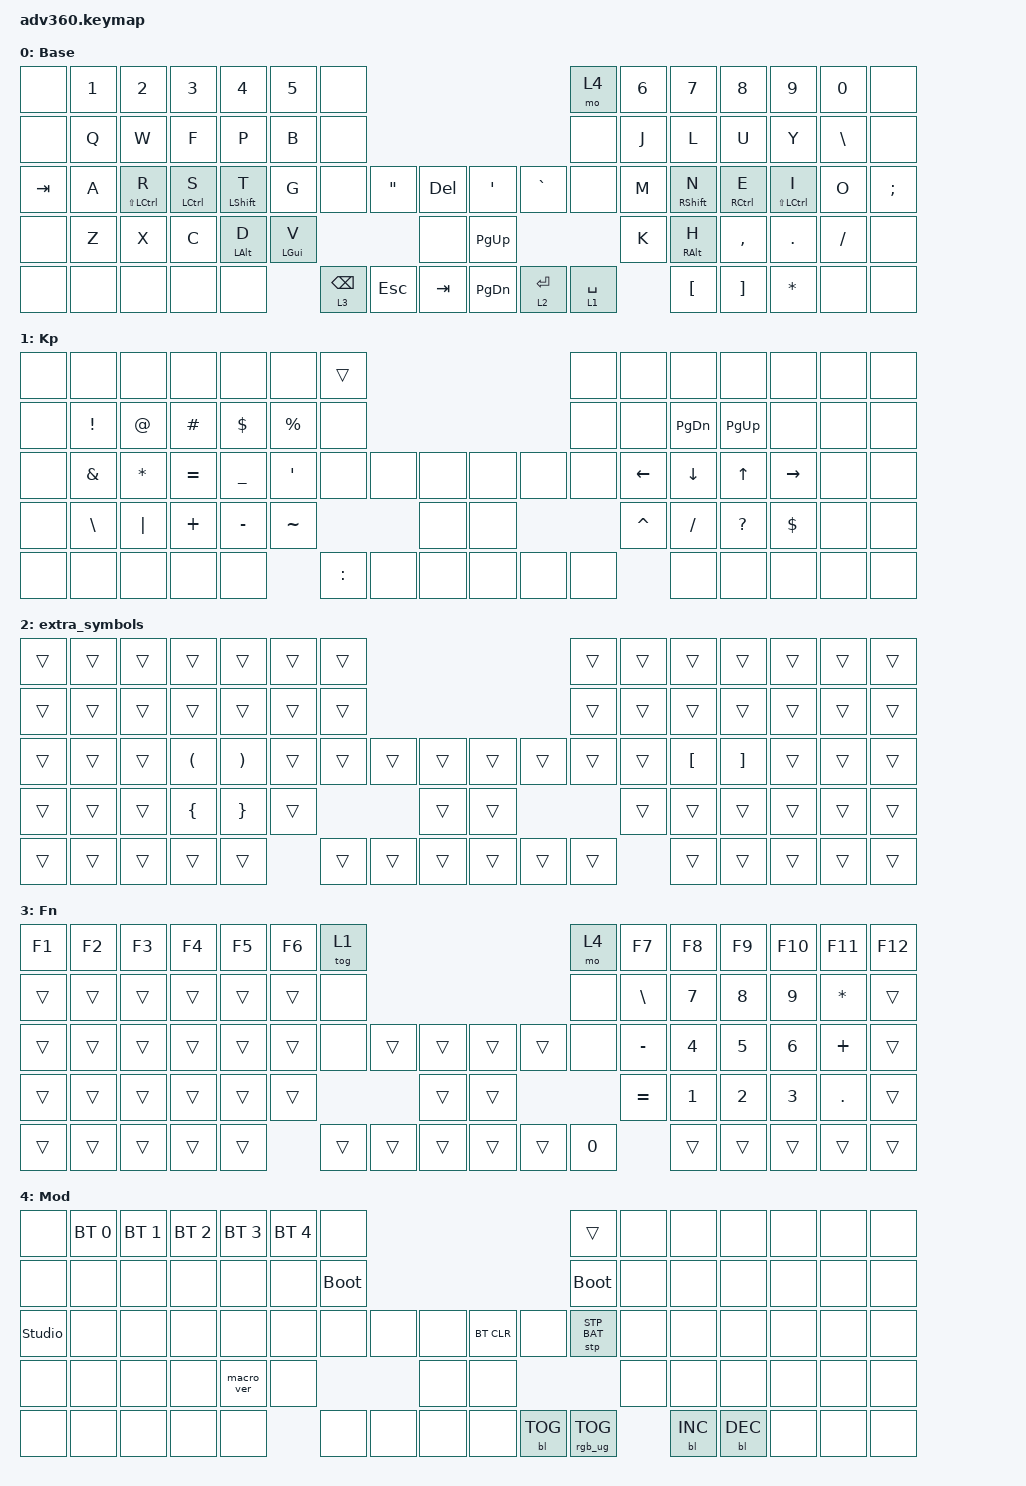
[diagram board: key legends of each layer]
#include <dt-bindings/zmk/stp.h>
#include <behaviors.dtsi>
#include <dt-bindings/zmk/backlight.h>
#include <dt-bindings/zmk/bt.h>
#include <dt-bindings/zmk/keys.h>
#include <dt-bindings/zmk/rgb.h>

/ {
    behaviors {
        #include "macros.dtsi"
      #include "version.dtsi"

        hm: homerow_mods {
            compatible = "zmk,behavior-hold-tap";
            label = "HOMEROW_MODS";
            #binding-cells = <2>;
            tapping-term-ms = <200>;
            quick_tap_ms = <175>;
            flavor = "tap-preferred";
            bindings = <&kp>, <&kp>;
        };

        hml: hml {
            compatible = "zmk,behavior-hold-tap";
            label = "HML";
            bindings = <&kp>, <&kp>;

            #binding-cells = <2>;
            tapping-term-ms = <280>;
            quick-tap-ms = <175>;
            require-prior-idle-ms = <150>;
            flavor = "balanced";
            hold-trigger-on-release;
            hold-trigger-key-positions = <42 41 39 54 40 21 7 8 9 10 11 12 13 21 22 23 24 25 26 27 39 40 41 42 43 44 45 54 55 56 57 58 59 71 72 73 74 75 37 38 53 54 55 68 69 70 71 35 36 52 65 66 67>;
        };

        hmr: hmr {
            compatible = "zmk,behavior-hold-tap";
            label = "HMR";
            bindings = <&kp>, <&kp>;

            #binding-cells = <2>;
            tapping-term-ms = <280>;
            quick-tap-ms = <175>;
            require-prior-idle-ms = <150>;
            flavor = "balanced";
            hold-trigger-on-release;
            hold-trigger-key-positions = <0 1 2 3 4 5 6 14 15 16 17 18 19 20 28 29 30 31 32 33 34 46 47 48 49 50 51 60 61 62 63 64 35 36 37 38 50 51 52 53 64 65 66 67 68 69 70>;
        };

        ltl: ltl {
            compatible = "zmk,behavior-hold-tap";
            label = "LTL";
            bindings = <&mo>, <&kp>;

            #binding-cells = <2>;
            tapping-term-ms = <280>;
            quick-tap-ms = <175>;
            require-prior-idle-ms = <150>;
            hold-trigger-on-release;
            hold-trigger-key-positions = <7 8 9 10 11 12 13 21 22 23 24 25 26 27 38 39 40 41 42 43 44 45 54 55 56 57 58 59 69 70 71 72 73 74 75 37 38 53 68 69 70>;
            flavor = "balanced";
        };

        ltr: ltr {
            compatible = "zmk,behavior-hold-tap";
            label = "LTR";
            bindings = <&mo>, <&kp>;

            #binding-cells = <2>;
            tapping-term-ms = <280>;
            quick-tap-ms = <175>;
            require-prior-idle-ms = <150>;
            flavor = "balanced";
            hold-trigger-on-release;
            hold-trigger-key-positions = <0 1 2 3 4 5 6 14 15 16 17 18 19 20 28 29 30 31 32 33 34 35 36 46 47 48 49 50 51 52 60 61 62 63 64 65 66 67 37 38 53 68 69 70>;
        };
    };

    combos { compatible = "zmk,combos"; };

    keymap {
        compatible = "zmk,keymap";

        default_layer {
            display-name = "Base";
            bindings = <
&none    &kp N1  &kp N2            &kp N3               &kp N4             &kp N5           &none                                                                           &mo 4        &kp N6  &kp N7              &kp N8                &kp N9            &kp N0         &none
&none    &kp Q   &kp W             &kp F                &kp P              &kp B            &none                                                                           &none        &kp J   &kp L               &kp U                 &kp Y             &kp BACKSLASH  &none
&kp TAB  &kp A   &hml LS(LCTRL) R  &hml LEFT_CONTROL S  &hml LEFT_SHIFT T  &kp G            &none            &kp DOUBLE_QUOTES  &kp DEL      &kp SINGLE_QUOTE  &kp GRAVE    &none        &kp M   &hmr RIGHT_SHIFT N  &hmr RIGHT_CONTROL E  &hmr LS(LCTRL) I  &kp O          &kp SEMI
&none    &kp Z   &kp X             &kp C                &hml LALT D        &hml LEFT_GUI V                                      &none        &kp PAGE_UP                                 &kp K   &hmr RIGHT_ALT H    &kp COMMA             &kp DOT           &kp FSLH       &none
&none    &none   &none             &none                &none                               &lt 3 BACKSPACE  &kp ESC            &kp TAB      &kp PAGE_DOWN     &lt 2 ENTER  &lt 1 SPACE          &kp LEFT_BRACKET    &kp RIGHT_BRACKET     &kp STAR          &none          &none
            >;
        };

        symbols {
            display-name = "Kp";
            bindings = <
&none  &none            &none        &none      &none           &none             &trans                                     &none  &none      &none          &none         &none       &none  &none
&none  &kp EXCLAMATION  &kp AT_SIGN  &kp HASH   &kp DOLLAR      &kp PERCENT       &none                                      &none  &none      &kp PAGE_DOWN  &kp PAGE_UP   &none       &none  &none
&none  &kp AMPERSAND    &kp STAR     &kp EQUAL  &kp UNDERSCORE  &kp SINGLE_QUOTE  &none      &none  &none      &none  &none  &none  &kp LEFT   &kp DOWN       &kp UP_ARROW  &kp RIGHT   &none  &none
&none  &kp BACKSLASH    &kp PIPE     &kp PLUS   &kp MINUS       &kp TILDE                           &none      &none                &kp CARET  &kp SLASH      &kp QUESTION  &kp DOLLAR  &none  &none
&none  &none            &none        &none      &none                             &kp COLON  &none  &none      &none  &none  &none             &none          &none         &none       &none  &none
            >;
        };

        extra_symbols {
            bindings = <
&trans  &trans  &trans  &trans                &trans                 &trans  &trans                                      &trans  &trans  &trans            &trans             &trans  &trans  &trans
&trans  &trans  &trans  &trans                &trans                 &trans  &trans                                      &trans  &trans  &trans            &trans             &trans  &trans  &trans
&trans  &trans  &trans  &kp LEFT_PARENTHESIS  &kp RIGHT_PARENTHESIS  &trans  &trans  &trans  &trans      &trans  &trans  &trans  &trans  &kp LEFT_BRACKET  &kp RIGHT_BRACKET  &trans  &trans  &trans
&trans  &trans  &trans  &kp LEFT_BRACE        &kp RIGHT_BRACE        &trans                  &trans      &trans                  &trans  &trans            &trans             &trans  &trans  &trans
&trans  &trans  &trans  &trans                &trans                         &trans  &trans  &trans      &trans  &trans  &trans          &trans            &trans             &trans  &trans  &trans
            >;
        };

        fn {
            display-name = "Fn";
            bindings = <
&kp F1  &kp F2  &kp F3  &kp F4  &kp F5  &kp F6  &tog 1                                      &mo 4   &kp F7         &kp F8        &kp F9        &kp F10       &kp F11       &kp F12
&trans  &trans  &trans  &trans  &trans  &trans  &none                                       &none   &kp BACKSLASH  &kp NUMBER_7  &kp N8        &kp N9        &kp ASTERISK  &trans
&trans  &trans  &trans  &trans  &trans  &trans  &none   &trans  &trans      &trans  &trans  &none   &kp MINUS      &kp NUMBER_4  &kp N5        &kp NUMBER_6  &kp PLUS      &trans
&trans  &trans  &trans  &trans  &trans  &trans                  &trans      &trans                  &kp EQUAL      &kp NUMBER_1  &kp NUMBER_2  &kp NUMBER_3  &kp DOT       &trans
&trans  &trans  &trans  &trans  &trans          &trans  &trans  &trans      &trans  &trans  &kp N0                 &trans        &trans        &trans        &trans        &trans
            >;
        };

        mod {
            display-name = "Mod";
            bindings = <
&none           &bt BT_SEL 0  &bt BT_SEL 1  &bt BT_SEL 2  &bt BT_SEL 3  &bt BT_SEL 4  &none                                                  &trans           &none  &none       &none       &none  &none  &none
&none           &none         &none         &none         &none         &none         &bootloader                                            &bootloader      &none  &none       &none       &none  &none  &none
&studio_unlock  &none         &none         &none         &none         &none         &none        &none  &none      &bt BT_CLR  &none       &stp STP_BAT     &none  &none       &none       &none  &none  &none
&none           &none         &none         &none         &macro_ver    &none                             &none      &none                                    &none  &none       &none       &none  &none  &none
&none           &none         &none         &none         &none                       &none        &none  &none      &none       &bl BL_TOG  &rgb_ug RGB_TOG         &bl BL_INC  &bl BL_DEC  &none  &none  &none
            >;
        };

        extra1 {
            display-name = "Red";
            status = "reserved";
        };

        extra2 {
            display-name = "Purple";
            status = "reserved";
        };

        extra3 {
            display-name = "Cyan";
            status = "reserved";
        };

        extra4 {
            display-name = "Yellow";
            status = "reserved";
        };
    };
};
